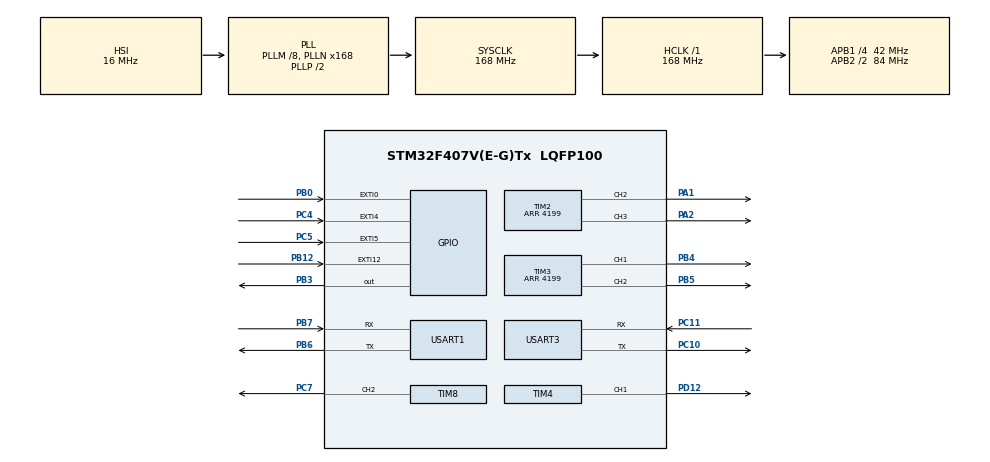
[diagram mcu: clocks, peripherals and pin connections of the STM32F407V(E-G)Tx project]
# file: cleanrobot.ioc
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Mcu.Family=STM32F4
Mcu.Name=STM32F407V(E-G)Tx
Mcu.Package=LQFP100
NVIC.EXTI0_IRQn=true\:0\:0\:false\:false\:true\:true\:true\:true
NVIC.EXTI15_10_IRQn=true\:0\:0\:false\:false\:true\:true\:true\:true
NVIC.EXTI4_IRQn=true\:0\:0\:false\:false\:true\:true\:true\:true
NVIC.EXTI9_5_IRQn=true\:0\:0\:false\:false\:true\:true\:true\:true
NVIC.PriorityGroup=NVIC_PRIORITYGROUP_4
PA1.Signal=S_TIM2_CH2
PA13.Mode=Serial_Wire
PA13.Signal=SYS_JTMS-SWDIO
PA14.Mode=Serial_Wire
PA14.Signal=SYS_JTCK-SWCLK
PA2.Signal=S_TIM2_CH3
PB0.GPIO_PuPd=GPIO_PULLUP
PB0.Signal=GPXTI0
PB12.GPIO_PuPd=GPIO_PULLUP
PB12.Signal=GPXTI12
PB3.Signal=GPIO_Output
PB4.Signal=S_TIM3_CH1
PB5.Signal=S_TIM3_CH2
PB6.Mode=Asynchronous
PB6.Signal=USART1_TX
PB7.Mode=Asynchronous
PB7.Signal=USART1_RX
PC10.Mode=Asynchronous
PC10.Signal=USART3_TX
PC11.Mode=Asynchronous
PC11.Signal=USART3_RX
PC4.GPIO_PuPd=GPIO_PULLUP
PC4.Signal=GPXTI4
PC5.GPIO_PuPd=GPIO_PULLUP
PC5.Signal=GPXTI5
PC7.Signal=S_TIM8_CH2
PD12.Signal=S_TIM4_CH1
PH0-OSC_IN.Mode=HSE-External-Oscillator
PH0-OSC_IN.Signal=RCC_OSC_IN
PH1-OSC_OUT.Mode=HSE-External-Oscillator
PH1-OSC_OUT.Signal=RCC_OSC_OUT
ProjectManager.HeapSize=0x200
ProjectManager.StackSize=0x400
ProjectManager.TargetToolchain=STM32CubeIDE
RCC.48MHZClocksFreq_Value=84000000
RCC.AHBFreq_Value=168000000
RCC.APB1CLKDivider=RCC_HCLK_DIV4
RCC.APB1Freq_Value=42000000
RCC.APB1TimFreq_Value=84000000
RCC.APB2CLKDivider=RCC_HCLK_DIV2
RCC.APB2Freq_Value=84000000
RCC.APB2TimFreq_Value=168000000
RCC.CortexFreq_Value=168000000
RCC.HCLKFreq_Value=168000000
RCC.HSE_VALUE=8000000
RCC.HSI_VALUE=16000000
RCC.LSE_VALUE=32768
RCC.PLLM=8
RCC.PLLN=168
RCC.SYSCLKFreq_VALUE=168000000
RCC.SYSCLKSource=RCC_SYSCLKSOURCE_PLLCLK
RCC.VCOOutputFreq_Value=336000000
SH.S_TIM2_CH2.0=TIM2_CH2,PWM Generation2 CH2
SH.S_TIM2_CH3.0=TIM2_CH3,PWM Generation3 CH3
SH.S_TIM3_CH1.0=TIM3_CH1,PWM Generation1 CH1
SH.S_TIM3_CH2.0=TIM3_CH2,PWM Generation2 CH2
SH.S_TIM4_CH1.0=TIM4_CH1,PWM Generation1 CH1
SH.S_TIM8_CH2.0=TIM8_CH2,PWM Generation2 CH2
TIM2.Channel-PWM\ Generation2\ CH2=TIM_CHANNEL_2
TIM2.Channel-PWM\ Generation3\ CH3=TIM_CHANNEL_3
TIM2.Period=4199
TIM3.Channel-PWM\ Generation1\ CH1=TIM_CHANNEL_1
TIM3.Channel-PWM\ Generation2\ CH2=TIM_CHANNEL_2
TIM3.Period=4199
TIM4.Channel-PWM\ Generation1\ CH1=TIM_CHANNEL_1
TIM4.Period=4199
TIM8.Channel-PWM\ Generation2\ CH2=TIM_CHANNEL_2
TIM8.Period=4199
USART1.VirtualMode=VM_ASYNC
USART3.VirtualMode=VM_ASYNC
board=custom

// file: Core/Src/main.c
/* USER CODE BEGIN Header */
/**
  ******************************************************************************
  * @file           : main.c
  * @brief          : Main program body
  ******************************************************************************
  * @attention
  *
  * Copyright (c) 2025 STMicroelectronics.
  * All rights reserved.
  *
  * This software is licensed under terms that can be found in the LICENSE file
  * in the root directory of this software component.
  * If no LICENSE file comes with this software, it is provided AS-IS.
  *
  ******************************************************************************
  */
/* USER CODE END Header */
#include "main.h"
#include "tim.h"
#include "usart.h"
#include "gpio.h"

/* USER CODE BEGIN Includes */
#include "comm_luban.h"
#include "bsp_drivetrain.h"
#include "bsp_cleaning.h"
#include "bsp_sensors.h"
#include "robot_state_machine.h"
#include "usart.h"
/* USER CODE END Includes */

/* USER CODE BEGIN PD */
#define ENABLE_LOCAL_DRIVE_DEMO   0   /* set 1 to auto-run forward/back/left/right */
#define DEMO_LINEAR_SPEED         0.6f
#define DEMO_TURN_SPEED           0.5f

/* Direct PWM+DIR wheel tests (bypass abstraction) */
#define ENABLE_RAW_WHEEL_TEST     0   /* set 1 to run per-wheel forward/reverse on boot */
#define RAW_TEST_EFF              0.70f
#define ENABLE_FORWARD_SMOKE      0   /* set 1 to drive both wheels forward briefly after init */
#define ENABLE_BACKWARD_SMOKE     0   /* set 1 to drive both wheels backward briefly after init */
#define FORWARD_TEST_NORM         0.70f
#define BACKWARD_TEST_NORM        -0.70f
#define SMOKE_TEST_TIME_MS        4000U
/* 固定 cmd_vel 冒烟测试：1 次性发送 vx/wz 以验证解算 */
#define ENABLE_CMDVEL_SMOKE       0
#define CMDVEL_SMOKE_VX           0.4f
#define CMDVEL_SMOKE_WZ           0.0f
#define CMDVEL_SMOKE_TIME_MS      4000U

/* 直接双轮前进冒烟（绕开解算，直接发左右相同 norm） */
#define ENABLE_DIRECT_FWD_SMOKE   0
#define DIRECT_FWD_NORM           0.70f
#define DIRECT_FWD_TIME_MS        4000U

/* Wheel DIR pins (duplicated here for raw test convenience) */
#define DIR_LEFT_GPIO_Port   GPIOB
#define DIR_LEFT_Pin         GPIO_PIN_15
#define DIR_RIGHT_GPIO_Port  GPIOC
#define DIR_RIGHT_Pin        GPIO_PIN_3

/* 方向与起转参数 */
#define WHEEL_MIN_EFF        0.45f
#define WHEEL_KICK_MS        180U
#define LEFT_EFF_SCALE_FWD   0.55f
#define LEFT_EFF_SCALE_BWD   0.80f
#define LEFT_KICK_FWD_EFF    0.65f
#define LEFT_KICK_BWD_EFF    0.85f
#define RIGHT_EFF_SCALE_FWD  0.90f
#define RIGHT_EFF_SCALE_BWD  0.70f
#define RIGHT_KICK_FWD_EFF   0.85f
#define RIGHT_KICK_BWD_EFF   0.65f

typedef enum
{
  MOTOR_CW = 0,   /* DIR=0, PWM=eff */
  MOTOR_CCW = 1   /* DIR=1, PWM=1-eff */
} MotorDir_t;

/* 车前进时各轮电机旋向（按实际安装设置） */
#define LEFT_MOTOR_DIR_WHEN_VEH_FWD   MOTOR_CCW
#define RIGHT_MOTOR_DIR_WHEN_VEH_FWD  MOTOR_CW

/* USER CODE END PD */

void SystemClock_Config(void);
/* USER CODE BEGIN PFP */
static void Drive_Forward(float speed_norm);
static void Drive_Backward(float speed_norm);
static void Drive_TurnLeft(float turn_norm);
static void Drive_TurnRight(float turn_norm);
static void Demo_LocalMotion(void);
static void Raw_Wheel_Test(void);

/* USER CODE END PFP */

/* USER CODE BEGIN 0 */
static void Drive_Forward(float speed_norm)
{
  Drivetrain_SetTwist(speed_norm, 0.0f);
}

static void Drive_Backward(float speed_norm)
{
  Drivetrain_SetTwist(-speed_norm, 0.0f);
}

static void Drive_TurnLeft(float turn_norm)
{
  Drivetrain_SetTwist(0.0f, turn_norm); /* 正角速度：左?*/
}

static void Drive_TurnRight(float turn_norm)
{
  Drivetrain_SetTwist(0.0f, -turn_norm); /* 负角速度：右?*/
}

/* 简单本地演示：?>?>左转->右转，然后停 */
static void Demo_LocalMotion(void)
{
  Drive_Forward(DEMO_LINEAR_SPEED);
  HAL_Delay(1500);

  Drive_Backward(DEMO_LINEAR_SPEED);
  HAL_Delay(1500);

  Drive_TurnLeft(DEMO_TURN_SPEED);
  HAL_Delay(1200);

  Drive_TurnRight(DEMO_TURN_SPEED);
  HAL_Delay(1200);

  Drivetrain_Stop();
  HAL_Delay(500);
}

static inline float clamp01(float x)
{
  if (x < 0.0f) return 0.0f;
  if (x > 1.0f) return 1.0f;
  return x;
}

static uint32_t duty_to_ccr_local(TIM_HandleTypeDef *htim, float duty_01)
{
  duty_01 = clamp01(duty_01);
  uint32_t arr = __HAL_TIM_GET_AUTORELOAD(htim);
  return (uint32_t)((float)arr * duty_01 + 0.5f);
}

/**
 * 双输入（应为双 PWM）但 DIR 只能 0/100% 的电机控制：
 *  forward : DIR=0%，PWM=duty
 *  reverse : DIR=100%，PWM=1-duty  => DIR 路占空比更高，方向翻转且力度对称
 */
static void Wheel_Set_ByMotorDir(TIM_HandleTypeDef *htim, uint32_t ch,
                                 GPIO_TypeDef *dir_port, uint16_t dir_pin,
                                 float eff_01, MotorDir_t mdir)
{
  eff_01 = clamp01(eff_01);

  /* 起转死区：确保有效力度不小于阈值 */
  if (eff_01 > 0.0f && eff_01 < WHEEL_MIN_EFF)
  {
    eff_01 = WHEEL_MIN_EFF;
  }

  /* 限幅，避免 100% vs 0% 极端组合 */
  if (eff_01 > 0.95f) eff_01 = 0.95f;

  if (eff_01 <= 0.0f)
  {
    HAL_GPIO_WritePin(dir_port, dir_pin, GPIO_PIN_RESET); /* DIR=0% */
    __HAL_TIM_SET_COMPARE(htim, ch, 0U);                  /* PWM=0% */
    return;
  }

  if (mdir == MOTOR_CW)
  {
    HAL_GPIO_WritePin(dir_port, dir_pin, GPIO_PIN_RESET); /* DIR=0% */
    __HAL_TIM_SET_COMPARE(htim, ch, duty_to_ccr_local(htim, eff_01));
  }
  else
  {
    HAL_GPIO_WritePin(dir_port, dir_pin, GPIO_PIN_SET);   /* DIR=100% */
    __HAL_TIM_SET_COMPARE(htim, ch, duty_to_ccr_local(htim, 1.0f - eff_01));
  }
}

/* 左/右轮封装：车视角前进/后退 */
static void Left_Set_Vehicle(bool veh_forward, float eff_01)
{
  MotorDir_t dir = veh_forward ? LEFT_MOTOR_DIR_WHEN_VEH_FWD
                               : (LEFT_MOTOR_DIR_WHEN_VEH_FWD == MOTOR_CW ? MOTOR_CCW : MOTOR_CW);
  float scaled = eff_01 * (veh_forward ? LEFT_EFF_SCALE_FWD : LEFT_EFF_SCALE_BWD);
  if (scaled > 1.0f) scaled = 1.0f;
  Wheel_Set_ByMotorDir(&htim8, TIM_CHANNEL_2, DIR_LEFT_GPIO_Port, DIR_LEFT_Pin, scaled, dir);
}

static void Right_Set_Vehicle(bool veh_forward, float eff_01)
{
  MotorDir_t dir = veh_forward ? RIGHT_MOTOR_DIR_WHEN_VEH_FWD
                               : (RIGHT_MOTOR_DIR_WHEN_VEH_FWD == MOTOR_CW ? MOTOR_CCW : MOTOR_CW);
  float scaled = eff_01 * (veh_forward ? RIGHT_EFF_SCALE_FWD : RIGHT_EFF_SCALE_BWD);
  if (scaled > 1.0f) scaled = 1.0f;
  Wheel_Set_ByMotorDir(&htim3, TIM_CHANNEL_2, DIR_RIGHT_GPIO_Port, DIR_RIGHT_Pin, scaled, dir);
}

static void Wheels_Stop_All(void)
{
  HAL_GPIO_WritePin(DIR_LEFT_GPIO_Port,  DIR_LEFT_Pin,  GPIO_PIN_RESET);
  HAL_GPIO_WritePin(DIR_RIGHT_GPIO_Port, DIR_RIGHT_Pin, GPIO_PIN_RESET);
  __HAL_TIM_SET_COMPARE(&htim8, TIM_CHANNEL_2, 0U);
  __HAL_TIM_SET_COMPARE(&htim3, TIM_CHANNEL_2, 0U);
}

static void Wheel_Run_WithKick_Vehicle(bool left, bool veh_forward, float eff_01)
{
  eff_01 = clamp01(eff_01);

  if (left)
  {
    const float kick = veh_forward ? LEFT_KICK_FWD_EFF : LEFT_KICK_BWD_EFF;
    Left_Set_Vehicle(veh_forward, kick);
    HAL_Delay(WHEEL_KICK_MS);
    Left_Set_Vehicle(veh_forward, eff_01);
  }
  else
  {
    const float kick = veh_forward ? RIGHT_KICK_FWD_EFF : RIGHT_KICK_BWD_EFF;
    Right_Set_Vehicle(veh_forward, kick);
    HAL_Delay(WHEEL_KICK_MS);
    Right_Set_Vehicle(veh_forward, eff_01);
  }
}

/* 只测右轮：直接测 MOTOR_CW / MOTOR_CCW 各跑一段，观察哪个是“车前进” */
static void RightWheel_DirProbe(void)
{
  const float eff = RAW_TEST_EFF;

  Wheels_Stop_All();
  HAL_Delay(800);

  /* A) 右轮 MOTOR_CW */
  Wheel_Set_ByMotorDir(&htim3, TIM_CHANNEL_2,
                       DIR_RIGHT_GPIO_Port, DIR_RIGHT_Pin,
                       eff, MOTOR_CW);
  HAL_Delay(2000);

  Wheels_Stop_All();
  HAL_Delay(1200);

  /* B) 右轮 MOTOR_CCW */
  Wheel_Set_ByMotorDir(&htim3, TIM_CHANNEL_2,
                       DIR_RIGHT_GPIO_Port, DIR_RIGHT_Pin,
                       eff, MOTOR_CCW);
  HAL_Delay(2000);

  Wheels_Stop_All();
  HAL_Delay(1500);
}

/* 开机动作测试：左正/左反/右正/右反/双前/双后/原地左/原地右/停 */
static void Raw_Wheel_Test(void)
{
  RightWheel_DirProbe();
}

/* USER CODE END 0 */

int main(void)
{

  /* MCU Configuration--------------------------------------------------------*/

  /* Reset of all peripherals, Initializes the Flash interface and the Systick. */
  HAL_Init();

  /* Configure the system clock */
  SystemClock_Config();

  /* Initialize all configured peripherals */
  MX_GPIO_Init();
  MX_TIM2_Init();
  MX_TIM3_Init();
  MX_TIM4_Init();
  MX_TIM8_Init();
  MX_USART1_UART_Init();
  /* USER CODE BEGIN 2 */
  MX_USART3_UART_Init();
  Drivetrain_Init();
  Cleaning_Init();
  Sensors_Init();
  Comm_Luban_Init(&huart3);
  Comm_UART1_TestInit();
  RobotSM_Init();
#if ENABLE_FORWARD_SMOKE
  /* 简单验证：双轮前进一段时间 */
  Drivetrain_SetRaw(FORWARD_TEST_NORM, FORWARD_TEST_NORM);
  HAL_Delay(SMOKE_TEST_TIME_MS);
  Drivetrain_Stop();
#endif
#if ENABLE_BACKWARD_SMOKE
  /* 简单验证：双轮后退一段时间 */
  Drivetrain_SetRaw(BACKWARD_TEST_NORM, BACKWARD_TEST_NORM);
  HAL_Delay(SMOKE_TEST_TIME_MS);
  Drivetrain_Stop();
#endif
#if ENABLE_DIRECT_FWD_SMOKE
  /* 绕开解算，直接控制左右相同 norm 前进 */
  Drivetrain_SetRaw(DIRECT_FWD_NORM, DIRECT_FWD_NORM);
  HAL_Delay(DIRECT_FWD_TIME_MS);
  Drivetrain_Stop();
#endif
#if ENABLE_CMDVEL_SMOKE
  /* 固定 cmd_vel 冒烟：vx/wz 测解算与左右轮输出 */
  Drivetrain_SetTwist(CMDVEL_SMOKE_VX, CMDVEL_SMOKE_WZ);
  HAL_Delay(CMDVEL_SMOKE_TIME_MS);
  Drivetrain_Stop();
#endif
#if ENABLE_RAW_WHEEL_TEST
  Raw_Wheel_Test();
#endif
#if ENABLE_LOCAL_DRIVE_DEMO
  Demo_LocalMotion();
#endif

  /* USER CODE END 2 */

  /* Infinite loop */
  while (1)
  {

    /* USER CODE BEGIN 3 */
    /* 周期通过 UART3 发送心跳，验证上行链路 */
   /* static uint32_t uart3_tx_tick = 0;
    if ((HAL_GetTick() - uart3_tx_tick) > 1000U)
    {
      uart3_tx_tick = HAL_GetTick();
      const char hb3[] = "UART3_PING\r\n";
      (void)HAL_UART_Transmit(&huart3, (uint8_t *)hb3, (uint16_t)(sizeof(hb3) - 1U), 20);
    }*/

    Comm_Luban_Poll();
    Comm_Luban_Watchdog();
    /* USER CODE END 3 */
  }
}

void SystemClock_Config(void)
{
  RCC_OscInitTypeDef RCC_OscInitStruct = {0};
  RCC_ClkInitTypeDef RCC_ClkInitStruct = {0};

  /** Configure the main internal regulator output voltage
  */
  __HAL_RCC_PWR_CLK_ENABLE();
  __HAL_PWR_VOLTAGESCALING_CONFIG(PWR_REGULATOR_VOLTAGE_SCALE1);

  /** Initializes the RCC Oscillators according to the specified parameters
  * in the RCC_OscInitTypeDef structure.
  */
  RCC_OscInitStruct.OscillatorType = RCC_OSCILLATORTYPE_HSI;
  RCC_OscInitStruct.HSIState = RCC_HSI_ON;
  RCC_OscInitStruct.HSICalibrationValue = RCC_HSICALIBRATION_DEFAULT;
  RCC_OscInitStruct.PLL.PLLState = RCC_PLL_ON;
  RCC_OscInitStruct.PLL.PLLSource = RCC_PLLSOURCE_HSI;
  RCC_OscInitStruct.PLL.PLLM = 8;
  RCC_OscInitStruct.PLL.PLLN = 168;
  RCC_OscInitStruct.PLL.PLLP = RCC_PLLP_DIV2;
  RCC_OscInitStruct.PLL.PLLQ = 4;
  if (HAL_RCC_OscConfig(&RCC_OscInitStruct) != HAL_OK)
  {
    Error_Handler();
  }

  /** Initializes the CPU, AHB and APB buses clocks
  */
  RCC_ClkInitStruct.ClockType = RCC_CLOCKTYPE_HCLK|RCC_CLOCKTYPE_SYSCLK
                              |RCC_CLOCKTYPE_PCLK1|RCC_CLOCKTYPE_PCLK2;
  RCC_ClkInitStruct.SYSCLKSource = RCC_SYSCLKSOURCE_PLLCLK;
  RCC_ClkInitStruct.AHBCLKDivider = RCC_SYSCLK_DIV1;
  RCC_ClkInitStruct.APB1CLKDivider = RCC_HCLK_DIV4;
  RCC_ClkInitStruct.APB2CLKDivider = RCC_HCLK_DIV2;

  if (HAL_RCC_ClockConfig(&RCC_ClkInitStruct, FLASH_LATENCY_5) != HAL_OK)
  {
    Error_Handler();
  }
}

void Error_Handler(void)
{
  __disable_irq();
  while (1)
  {
  }
}
